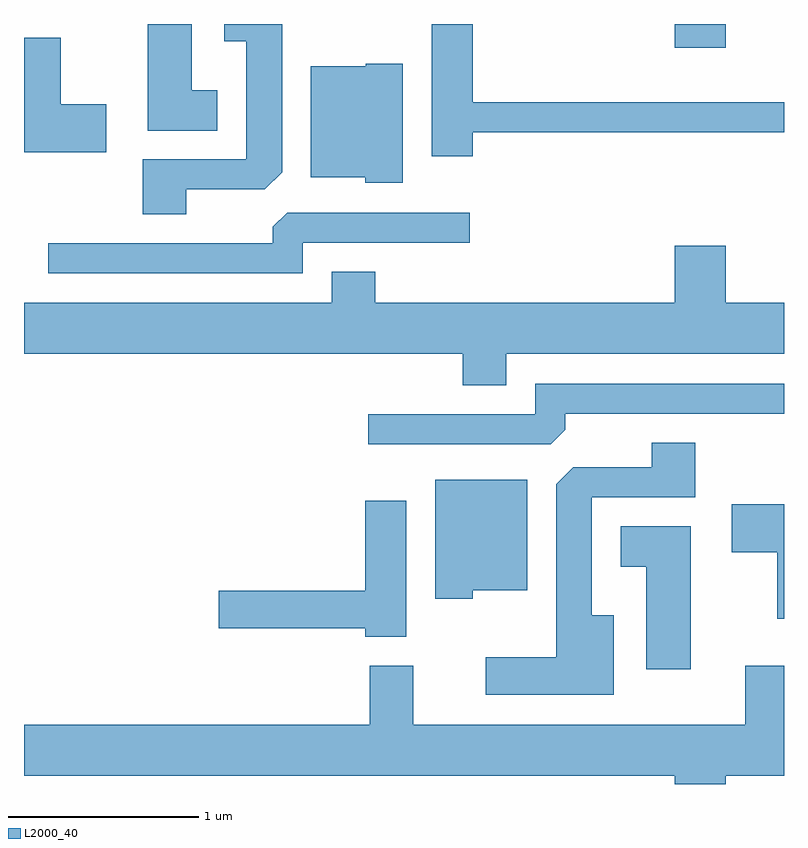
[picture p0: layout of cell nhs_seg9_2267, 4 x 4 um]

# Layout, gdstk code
import gdstk
lib = gdstk.Library(unit=1e-6, precision=1e-09)
def R(c, l, rs):  # rectangles x0, y0, x1, y1
    for r in rs: c.add(gdstk.rectangle(r[:2], r[2:], *l))
def P(c, l, *ps):  # polygons
    for p in ps: c.add(gdstk.Polygon(p, *l))
L2000_40 = (2000, 40)

nhs_seg9_2267 = lib.new_cell('nhs_seg9_2267')
R(nhs_seg9_2267, L2000_40, [(255.036,2002.306,255.304,2002.432)])
P(nhs_seg9_2267, L2000_40, [(253.974,2001.861),(255.611,2001.861),(255.611,2002.019),(253.974,2002.019),(253.974,2002.432),(253.756,2002.432),(253.756,2001.736),(253.974,2001.736)],
  [(252.464,2001.561),(252.879,2001.561),(252.969,2001.652),(252.969,2002.432),(252.666,2002.432),(252.666,2002.341),(252.781,2002.341),(252.781,2001.719),(252.236,2001.719),(252.236,2001.431),(252.464,2001.431)],
  [(252.629,2002.084),(252.494,2002.084),(252.494,2002.432),(252.261,2002.432),(252.261,2001.871),(252.629,2001.871)],
  [(252.044,2002.009),(251.804,2002.009),(251.804,2002.359),(251.611,2002.359),(251.611,2001.756),(252.044,2001.756)],
  [(253.604,2002.224),(253.41,2002.224),(253.41,2002.209),(253.121,2002.209),(253.121,2001.626),(253.406,2001.626),(253.406,2001.596),(253.604,2001.596)],
  [(253.079,2001.281),(253.958,2001.281),(253.958,2001.439),(252.997,2001.439),(252.921,2001.364),(252.921,2001.279),(251.738,2001.279),(251.738,2001.121),(253.079,2001.121)],
  [(254.149,2000.696),(255.611,2000.696),(255.611,2000.964),(255.304,2000.964),(255.304,2001.264),(255.036,2001.264),(255.036,2000.964),(253.459,2000.964),(253.459,2001.129),(253.231,2001.129),(253.231,2000.964),(251.611,2000.964),(251.611,2000.696),(253.921,2000.696),(253.921,2000.531),(254.149,2000.531)],
  [(254.459,2000.297),(254.459,2000.381),(255.611,2000.381),(255.611,2000.539),(254.301,2000.539),(254.301,2000.379),(253.423,2000.379),(253.423,2000.221),(254.384,2000.221)],
  [(254.714,1999.319),(254.599,1999.319),(254.599,1999.941),(255.144,1999.941),(255.144,2000.229),(254.916,2000.229),(254.916,2000.099),(254.502,2000.099),(254.411,2000.009),(254.411,1999.099),(254.041,1999.099),(254.041,1998.901),(254.714,1998.901)],
  [(253.974,1999.451),(254.259,1999.451),(254.259,2000.034),(253.776,2000.034),(253.776,1999.406),(253.974,1999.406)],
  [(253.624,1999.924),(253.406,1999.924),(253.406,1999.449),(252.636,1999.449),(252.636,1999.251),(253.406,1999.251),(253.406,1999.206),(253.624,1999.206)],
  [(255.611,1999.904),(255.336,1999.904),(255.336,1999.651),(255.576,1999.651),(255.576,1999.301),(255.611,1999.301)],
  [(255.119,1999.789),(254.751,1999.789),(254.751,1999.576),(254.886,1999.576),(254.886,1999.036),(255.119,1999.036)],
  [(255.304,1998.476),(255.611,1998.476),(255.611,1999.054),(255.406,1999.054),(255.406,1998.744),(253.659,1998.744),(253.659,1999.054),(253.431,1999.054),(253.431,1998.744),(251.611,1998.744),(251.611,1998.476),(255.036,1998.476),(255.036,1998.432),(255.304,1998.432)])

lib.write_gds('nhs_seg9_2267.gds')
